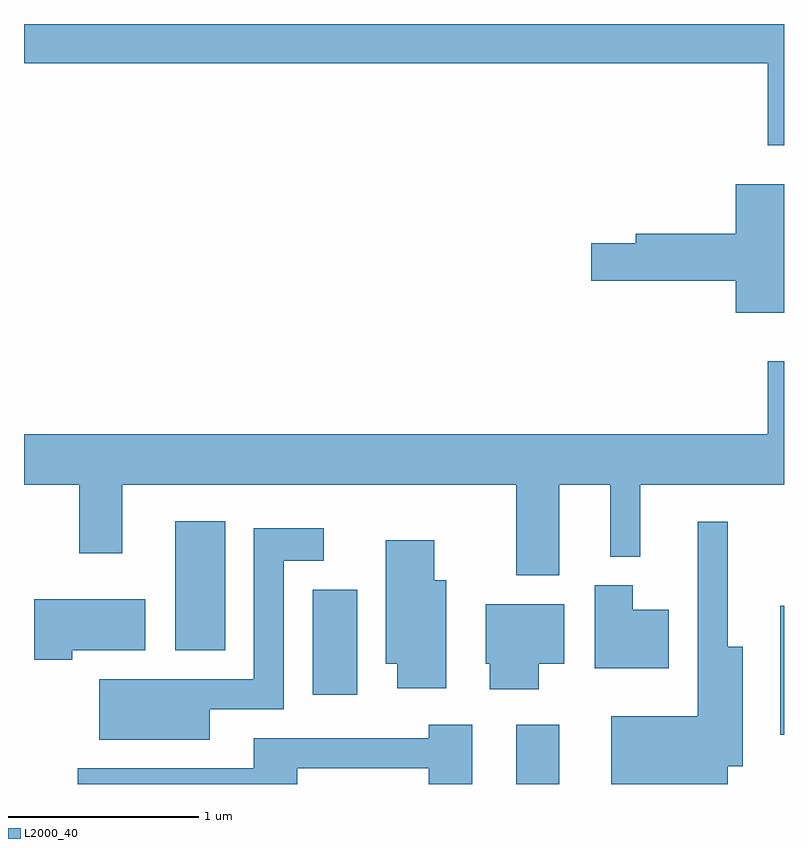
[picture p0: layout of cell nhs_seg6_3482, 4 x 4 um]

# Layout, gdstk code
import gdstk
lib = gdstk.Library(unit=1e-6, precision=1e-09)
def R(c, l, rs):  # rectangles x0, y0, x1, y1
    for r in rs: c.add(gdstk.rectangle(r[:2], r[2:], *l))
def P(c, l, *ps):  # polygons
    for p in ps: c.add(gdstk.Polygon(p, *l))
L2000_40 = (2000, 40)

nhs_seg6_3482 = lib.new_cell('nhs_seg6_3482')
R(nhs_seg6_3482, L2000_40, [(292.201,1626.162,292.429,1626.474), (293.591,1626.421,293.611,1627.099), (291.131,1626.631,291.364,1627.184), (290.406,1626.866,290.669,1627.544)])
P(nhs_seg6_3482, L2000_40, [(293.611,1630.162),(289.611,1630.162),(289.611,1629.956),(293.526,1629.956),(293.526,1629.523),(293.611,1629.523)],
  [(293.611,1629.319),(293.356,1629.319),(293.356,1629.059),(292.831,1629.059),(292.831,1629.009),(292.596,1629.009),(292.596,1628.811),(293.356,1628.811),(293.356,1628.641),(293.611,1628.641)],
  [(292.429,1627.736),(292.696,1627.736),(292.696,1627.358),(292.854,1627.358),(292.854,1627.736),(293.611,1627.736),(293.611,1628.388),(293.526,1628.388),(293.526,1628.004),(289.611,1628.004),(289.611,1627.736),(289.901,1627.736),(289.901,1627.376),(290.129,1627.376),(290.129,1627.736),(292.201,1627.736),(292.201,1627.261),(292.429,1627.261)],
  [(293.314,1626.256),(293.394,1626.256),(293.394,1626.884),(293.314,1626.884),(293.314,1627.543),(293.156,1627.543),(293.156,1626.519),(292.701,1626.519),(292.701,1626.162),(293.314,1626.162)],
  [(290.589,1626.556),(290.979,1626.556),(290.979,1627.336),(291.189,1627.336),(291.189,1627.509),(290.821,1627.509),(290.821,1626.714),(290.006,1626.714),(290.006,1626.396),(290.589,1626.396)],
  [(291.834,1627.234),(291.769,1627.234),(291.769,1627.444),(291.516,1627.444),(291.516,1626.796),(291.576,1626.796),(291.576,1626.666),(291.834,1626.666)],
  [(293.004,1627.079),(292.814,1627.079),(292.814,1627.209),(292.616,1627.209),(292.616,1626.771),(293.004,1626.771)],
  [(289.864,1626.866),(290.249,1626.866),(290.249,1627.134),(289.666,1627.134),(289.666,1626.816),(289.864,1626.816)],
  [(292.319,1626.796),(292.454,1626.796),(292.454,1627.109),(292.041,1627.109),(292.041,1626.796),(292.061,1626.796),(292.061,1626.661),(292.319,1626.661)],
  [(291.049,1626.246),(291.741,1626.246),(291.741,1626.162),(291.969,1626.162),(291.969,1626.474),(291.741,1626.474),(291.741,1626.404),(290.821,1626.404),(290.821,1626.244),(289.893,1626.244),(289.893,1626.162),(291.049,1626.162)])

lib.write_gds('nhs_seg6_3482.gds')
